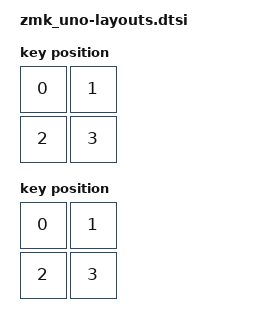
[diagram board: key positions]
#include <physical_layouts.dtsi>

/ {
    matrix_physical_layout: matrix_physical_layout {
        compatible = "zmk,physical-layout";
        display-name = "Matrix Layout";

        keys
            = <&key_physical_attrs 100 100 0   0 0 0 0>
            , <&key_physical_attrs 100 100 100 0 0 0 0>
            , <&key_physical_attrs 100 100 0   100 0 0 0>
            , <&key_physical_attrs 100 100 100 100 0 0 0>
            ;
    };

    direct_physical_layout: direct_physical_layout {
        compatible = "zmk,physical-layout";
        display-name = "Direct Wire Layout";

        keys
            = <&key_physical_attrs 100 100 0   0 0 0 0>
            , <&key_physical_attrs 100 100 100 0 0 0 0>
            , <&key_physical_attrs 100 100 0   100 0 0 0>
            , <&key_physical_attrs 100 100 100 100 0 0 0>
            ;
    };
};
